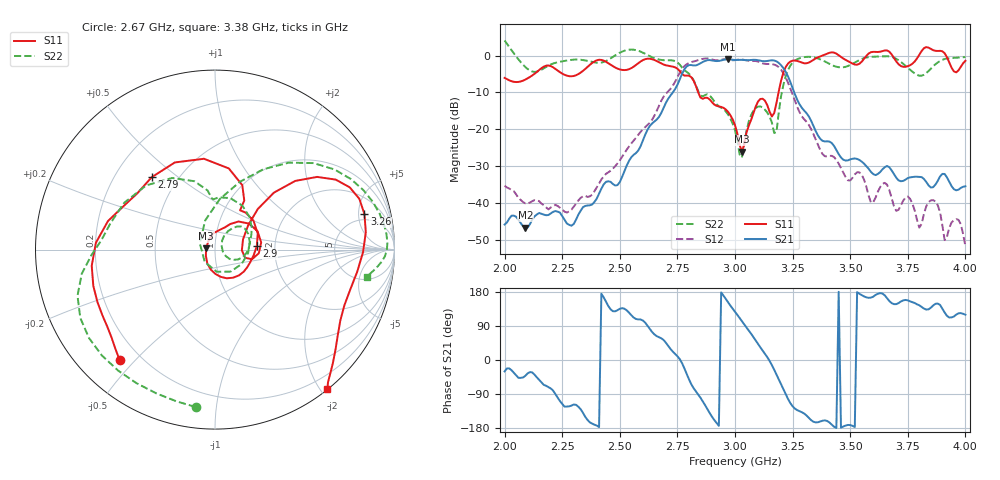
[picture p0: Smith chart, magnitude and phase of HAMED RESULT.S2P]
!Agilent Technologies,E5071C,MY46520292,B.13.20
!Date: Sun Dec 10 03:20:33 2023
!Data & Calibration Information:
!Freq	S11:SOLT2(ON)	S21:SOLT2(ON)	S12:SOLT2(ON)	S22:SOLT2(ON)
!PortZ  Port1:50+j0  Port2:50+j0
!Above PortZ is port z conversion or system Z0 setting when saving the data.
!When reading, reference impedance value at option line is always used.
# Hz S dB R 50
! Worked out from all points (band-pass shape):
!   201 points, 2 GHz to 4 GHz, reference 50 ohm
!   highest |S21| = -1.00 dB at 2.97 GHz (marker M1); lowest = -46.6 dB at 2.09 GHz (marker M2)
!   |S21| within 3 dB of the highest: 2.778 GHz to 3.216 GHz (438.2 MHz wide, 14.6 % of centre)
!   lowest |S11| = -26.0 dB at 3.03 GHz (marker M3), VSWR 1.11, Z = 45.3 + j0.746 ohm
!   |S11| at or under -10 dB: 2.84 GHz to 3.189 GHz (348.5 MHz wide, 11.6 % of centre)
!   |S22| runs from -27.6 to 4.1 dB; largest |S21 - S12| = 0.12
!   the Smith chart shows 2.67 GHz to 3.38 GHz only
!   S11 on the Smith chart (normalised r, x): 2.67 GHz: 0.12, -0.45; 2.79 GHz: 0.36, +0.40; 2.9 GHz: 1.61, +0.06; 3.26 GHz: 3.99, +5.90; 3.38 GHz: 0.01, -2.09
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2e9  -6.04 13.7  -45.74 -30.0  -35.25 0.4  4.08 64.6
2.09e9  -6.51 9.4  -46.57 -41.7  -40.00 -26.5  -3.12 53.3
2.34e9  -4.15 -27.4  -41.04 -139.4  -38.10 -158.9  -1.22 -15.1
2.53e9  -3.87 -68.8  -29.79 131.1  -25.49 125.2  1.47 -60.2
2.67e9  -1.80 -130.9  -16.62 60.0  -13.59 75.5  -1.08 -97.0
2.79e9  -5.42 131.3  -2.96 -36.3  -2.37 -34.1  -4.43 165.8
2.85e9  -11.37 57.9  -2.08 -99.5  -1.05 -98.5  -10.80 93.7
2.9e9  -12.63 4.7  -1.33 -149.6  -1.06 -148.7  -11.52 43.6
2.97e9  -15.25 -67.6  -1.00 152.2  -1.07 151.8  -15.96 -15.7
3e9  -18.84 -101.5  -1.20 127.2  -1.25 128.5  -20.23 -32.4
3.03e9  -26.03 170.5  -1.16 102.4  -1.06 102.6  -27.61 26.0
3.08e9  -15.60 59.2  -1.15 60.6  -1.45 60.4  -14.94 46.1
3.15e9  -15.19 -15.2  -1.36 -2.3  -2.28 -5.6  -16.47 -54.8
3.2e9  -6.81 44.0  -2.61 -64.5  -3.84 -69.5  -10.98 84.7
3.26e9  -1.35 13.4  -10.47 -128.3  -12.25 -135.1  -1.37 27.4
3.34e9  -1.18 -39.7  -18.99 -162.8  -21.20 -172.5  -0.47 -2.2
3.38e9  -0.02 -51.1  -23.10 -160.2  -26.66 -175.3  -1.31 -10.1
3.59e9  0.90 -107.4  -31.49 164.6  -39.81 146.0  -0.36 -70.4
3.67e9  1.03 -96.9  -30.24 155.5  -36.45 121.1  -0.23 -60.6
3.83e9  2.29 -148.3  -34.20 133.1  -40.80 140.3  -4.76 -107.7
3.9e9  1.16 -126.0  -32.03 135.5  -45.95 63.9  -1.16 -123.7
4e9  -1.42 170.0  -35.39 119.5  -51.59 71.8  -0.41 -108.4
